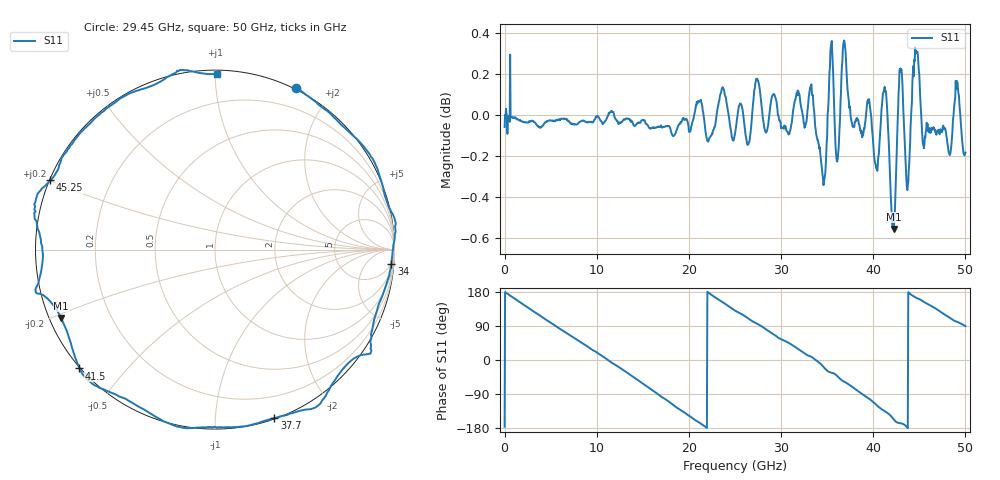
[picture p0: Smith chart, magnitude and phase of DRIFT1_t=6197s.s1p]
!Created with skrf (http://scikit-rf.org).
# Hz S RI R 50.0
!freq ReS11 ImS11
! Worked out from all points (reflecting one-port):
!   1001 points, 300 kHz to 50 GHz, reference 50 ohm
!   lowest |S11| = -0.6 dB at 42.2 GHz (marker M1), VSWR 31.39, Z = 1.66 - j10.6 ohm
!   phase of S11 starts at -176 deg and turns -815 deg over the sweep
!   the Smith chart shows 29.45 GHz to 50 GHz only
!   S11 on the Smith chart (normalised r, x): 29.45 GHz: -0.02, +1.62; 34 GHz: 4, -24; 37.7 GHz: 0.01, -1.41; 41.5 GHz: -0.00, -0.38; 45.25 GHz: 0.00, +0.20; 50 GHz: 0.02, +1.01
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300000  -0.9909 -0.0693
1.550291e9  -0.8991 0.4311
3.30028e9  -0.5812 0.8086
4.800271e9  -0.1998 0.9766
6.250262e9  0.2007 0.9775
9.500243e9  0.8898 0.4475
1.115023e10  0.9988 0.0204
1.250022e10  0.9333 -0.3474
1.580021e10  0.2424 -0.9623
1.73502e10  -0.2083 -0.9712
1.875019e10  -0.5943 -0.7954
2.155017e10  -0.9921 -0.1372
2.350016e10  -0.9214 0.4206
2.500015e10  -0.641 0.7539
2.735014e10  -0.1105 1.014
2.945012e10  0.4507 0.9021
3.125011e10  0.7807 0.6244
3.40001e10  0.9829 -0.0786
3.520009e10  0.8687 -0.5278
3.750008e10  0.387 -0.9252
3.770007e10  0.3312 -0.9389
3.955006e10  -0.211 -0.9865
4.150005e10  -0.755 -0.6621
4.220005e10  -0.8573 -0.3812
4.375004e10  -0.9616 -0.00402
4.525003e10  -0.9165 0.3863
4.770001e10  -0.5043 0.8544
5e10  0.00995 0.9791
